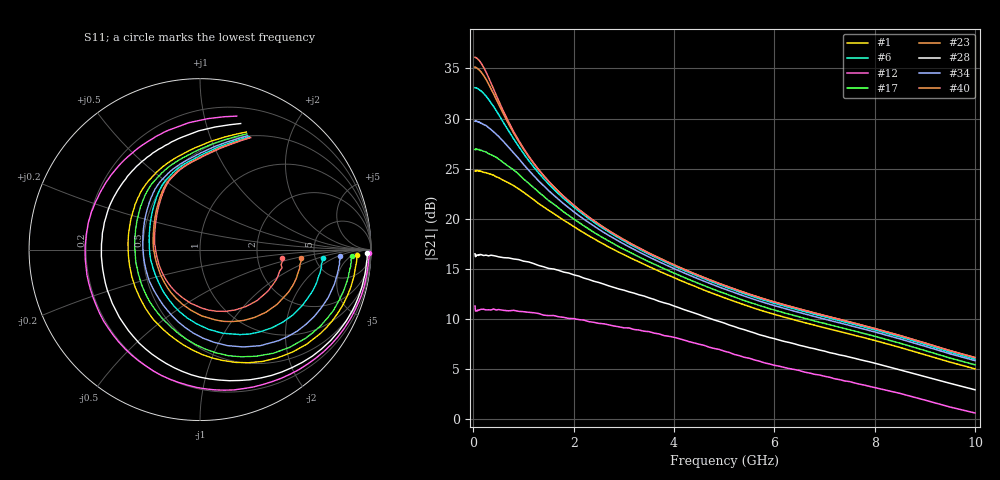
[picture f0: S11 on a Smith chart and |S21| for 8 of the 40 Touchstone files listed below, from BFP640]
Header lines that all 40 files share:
! Infineon Technologies  Discrete & RF Semiconductors
! BFP640
! Common Emitter S-Parameters:  Apr 2013
# GHz  S  MA  R  50
!  f  S11  S21  S12  S22
! GHz  MAG  ANG  MAG  ANG  MAG  ANG  MAG  ANG
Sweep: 30 MHz to 10 GHz
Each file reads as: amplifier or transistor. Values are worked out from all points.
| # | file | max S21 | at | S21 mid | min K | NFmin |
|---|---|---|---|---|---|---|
| 1 | BFP640_w_noise_VCE_3.0V_IC_6.0mA.s2p | 24.8 dB | 70 MHz | 15.2 dB at 3.5 GHz | -0.15 | 0.56 dB |
| 2 | BFP640_w_noise_VCE_3.0V_IC_8.0mA.s2p | 27.0 dB | 50 MHz | 15.7 dB at 3.5 GHz | -0.02 | 0.60 dB |
| 3 | BFP640_w_noise_VCE_3.0V_IC_10mA.s2p | 28.6 dB | 50 MHz | 15.9 dB at 3.5 GHz | -0.28 | 0.64 dB |
| 4 | BFP640_w_noise_VCE_3.0V_IC_12mA.s2p | 29.9 dB | 50 MHz | 16.1 dB at 3.5 GHz | -0.04 | 0.69 dB |
| 5 | BFP640_w_noise_VCE_3.0V_IC_15mA.s2p | 31.3 dB | 50 MHz | 16.3 dB at 3.5 GHz | 0.01 | 0.75 dB |
| 6 | BFP640_w_noise_VCE_3.0V_IC_20mA.s2p | 33.1 dB | 50 MHz | 16.4 dB at 3.5 GHz | -0.05 | 0.85 dB |
| 7 | BFP640_w_noise_VCE_3.0V_IC_25mA.s2p | 34.3 dB | 30 MHz | 16.5 dB at 3.5 GHz | -0.16 | 0.95 dB |
| 8 | BFP640_w_noise_VCE_3.0V_IC_30mA.s2p | 35.2 dB | 30 MHz | 16.5 dB at 3.5 GHz | -0.01 | 1.07 dB |
| 9 | BFP640_w_noise_VCE_3.0V_IC_35mA.s2p | 35.8 dB | 30 MHz | 16.5 dB at 3.5 GHz | -0.02 | 1.16 dB |
| 10 | BFP640_w_noise_VCE_3.0V_IC_40mA.s2p | 36.0 dB | 50 MHz | 16.4 dB at 3.5 GHz | -0.04 | 1.25 dB |
| 11 | BFP640_w_noise_VCE_3.0V_IC_45mA.s2p | 35.8 dB | 60 MHz | 16.1 dB at 3.5 GHz | 0.07 | 1.34 dB |
| 12 | BFP640_w_noise_VCE_3.5V_IC_1.0mA.s2p | 11.3 dB | 30 MHz | 8.7 dB at 3.5 GHz | -0.11 | 0.65 dB |
| 13 | BFP640_w_noise_VCE_3.5V_IC_2.0mA.s2p | 16.5 dB | 30 MHz | 12.1 dB at 3.5 GHz | -0.14 | 0.53 dB |
| 14 | BFP640_w_noise_VCE_3.5V_IC_4.0mA.s2p | 21.8 dB | 120 MHz | 14.4 dB at 3.5 GHz | -0.05 | 0.54 dB |
| 15 | BFP640_w_noise_VCE_3.5V_IC_5.0mA.s2p | 23.4 dB | 50 MHz | 14.9 dB at 3.5 GHz | -0.23 | 0.54 dB |
| 16 | BFP640_w_noise_VCE_3.5V_IC_6.0mA.s2p | 24.8 dB | 70 MHz | 15.2 dB at 3.5 GHz | -0.22 | 0.56 dB |
| 17 | BFP640_w_noise_VCE_3.5V_IC_8.0mA.s2p | 27.0 dB | 50 MHz | 15.7 dB at 3.5 GHz | -0.47 | 0.60 dB |
| 18 | BFP640_w_noise_VCE_3.5V_IC_10mA.s2p | 28.5 dB | 50 MHz | 16.0 dB at 3.5 GHz | 0.04 | 0.64 dB |
| 19 | BFP640_w_noise_VCE_3.5V_IC_12mA.s2p | 29.8 dB | 50 MHz | 16.2 dB at 3.5 GHz | -0.03 | 0.69 dB |
| 20 | BFP640_w_noise_VCE_3.5V_IC_15mA.s2p | 31.3 dB | 50 MHz | 16.3 dB at 3.5 GHz | 0.07 | 0.75 dB |
| 21 | BFP640_w_noise_VCE_3.5V_IC_20mA.s2p | 33.0 dB | 50 MHz | 16.5 dB at 3.5 GHz | -0.10 | 0.85 dB |
| 22 | BFP640_w_noise_VCE_3.5V_IC_25mA.s2p | 34.2 dB | 30 MHz | 16.6 dB at 3.5 GHz | 0.10 | 0.95 dB |
| 23 | BFP640_w_noise_VCE_3.5V_IC_30mA.s2p | 35.1 dB | 30 MHz | 16.6 dB at 3.5 GHz | -0.05 | 1.07 dB |
| 24 | BFP640_w_noise_VCE_3.5V_IC_35mA.s2p | 35.8 dB | 30 MHz | 16.6 dB at 3.5 GHz | -0.05 | 1.16 dB |
| 25 | BFP640_w_noise_VCE_3.5V_IC_40mA.s2p | 36.2 dB | 30 MHz | 16.5 dB at 3.5 GHz | 0.15 | 1.25 dB |
| 26 | BFP640_w_noise_VCE_3.5V_IC_45mA.s2p | 36.2 dB | 50 MHz | 16.3 dB at 3.5 GHz | 0.17 | 1.34 dB |
| 27 | BFP640_w_noise_VCE_4.0V_IC_1.0mA.s2p | 11.3 dB | 30 MHz | 8.7 dB at 3.5 GHz | -0.13 | 0.65 dB |
| 28 | BFP640_w_noise_VCE_4.0V_IC_2.0mA.s2p | 16.5 dB | 30 MHz | 12.1 dB at 3.5 GHz | -0.19 | 0.53 dB |
| 29 | BFP640_w_noise_VCE_4.0V_IC_4.0mA.s2p | 21.6 dB | 80 MHz | 14.4 dB at 3.5 GHz | 0.05 | 0.54 dB |
| 30 | BFP640_w_noise_VCE_4.0V_IC_5.0mA.s2p | 23.4 dB | 50 MHz | 14.9 dB at 3.5 GHz | 0.06 | 0.54 dB |
| 31 | BFP640_w_noise_VCE_4.0V_IC_6.0mA.s2p | 24.8 dB | 60 MHz | 15.3 dB at 3.5 GHz | -0.08 | 0.56 dB |
| 32 | BFP640_w_noise_VCE_4.0V_IC_8.0mA.s2p | 27.0 dB | 50 MHz | 15.7 dB at 3.5 GHz | 0.05 | 0.60 dB |
| 33 | BFP640_w_noise_VCE_4.0V_IC_10mA.s2p | 28.5 dB | 50 MHz | 16.0 dB at 3.5 GHz | 0.09 | 0.64 dB |
| 34 | BFP640_w_noise_VCE_4.0V_IC_12mA.s2p | 29.8 dB | 50 MHz | 16.2 dB at 3.5 GHz | -0.17 | 0.69 dB |
| 35 | BFP640_w_noise_VCE_4.0V_IC_15mA.s2p | 31.2 dB | 50 MHz | 16.3 dB at 3.5 GHz | 0.00 | 0.75 dB |
| 36 | BFP640_w_noise_VCE_4.0V_IC_20mA.s2p | 32.9 dB | 30 MHz | 16.5 dB at 3.5 GHz | 0.15 | 0.85 dB |
| 37 | BFP640_w_noise_VCE_4.0V_IC_25mA.s2p | 34.1 dB | 30 MHz | 16.6 dB at 3.5 GHz | 0.17 | 0.95 dB |
| 38 | BFP640_w_noise_VCE_4.0V_IC_30mA.s2p | 35.0 dB | 30 MHz | 16.6 dB at 3.5 GHz | 0.19 | 1.07 dB |
| 39 | BFP640_w_noise_VCE_4.0V_IC_35mA.s2p | 35.7 dB | 30 MHz | 16.6 dB at 3.5 GHz | 0.17 | 1.16 dB |
| 40 | BFP640_w_noise_VCE_4.0V_IC_40mA.s2p | 36.1 dB | 30 MHz | 16.5 dB at 3.5 GHz | 0.18 | 1.25 dB |

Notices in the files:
BFP640/BFP640_w_noise_VCE_3.0V_IC_10mA.s2p:
(c) 2013  Infineon Technologies AG, Munich
